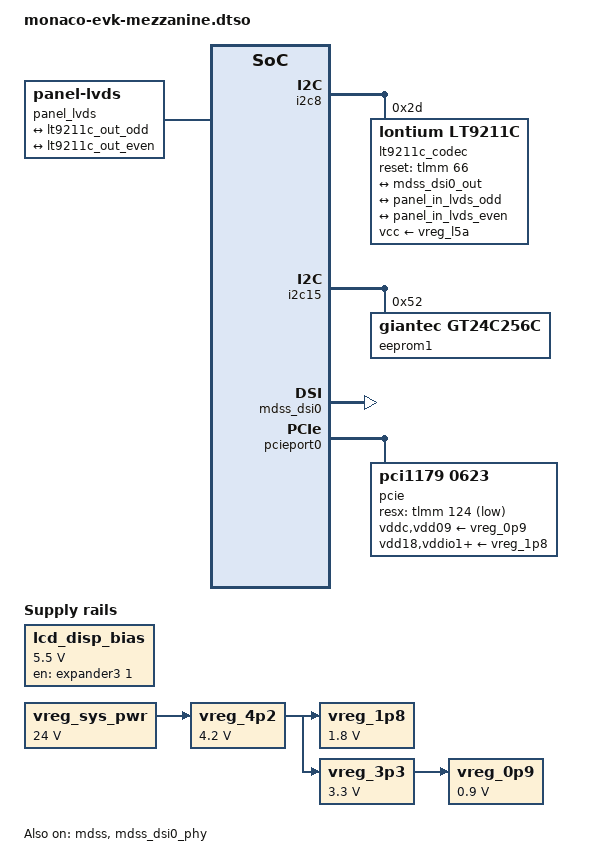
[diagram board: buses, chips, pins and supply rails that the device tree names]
// SPDX-License-Identifier: BSD-3-Clause
/*
 * Copyright (c) Qualcomm Technologies, Inc. and/or its subsidiaries.
 */

/dts-v1/;
/plugin/;

#include <dt-bindings/gpio/gpio.h>

&{/} {
	model = "Qualcomm Technologies, Inc. Monaco-EVK Mezzanine";

	panel_lvds: panel-lvds@0 {
		compatible = "panel-lvds";
		data-mapping = "vesa-24";
		width-mm = <476>;
		height-mm = <268>;

		status = "okay";

		panel-timing {
			clock-frequency = <148500000>;
			hactive = <1920>;
			vactive = <1080>;
			hfront-porch = <88>;
			hback-porch = <148>;
			hsync-len = <44>;
			vfront-porch = <4>;
			vback-porch = <36>;
			vsync-len = <5>;
			de-active = <1>;
		};

		ports {
			#address-cells = <1>;
			#size-cells = <0>;

			port@0 {
				reg = <0>;
				dual-lvds-odd-pixels;
				panel_in_lvds_odd: endpoint {
					remote-endpoint = <&lt9211c_out_odd>;
				};
			};

			port@1 {
				reg = <1>;
				dual-lvds-even-pixels;
				panel_in_lvds_even: endpoint {
					remote-endpoint = <&lt9211c_out_even>;
				};
			};
		};
	};

	lcd_disp_bias: regulator-lcd-disp-bias {
		compatible = "regulator-fixed";
		regulator-name = "lcd_disp_bias";
		regulator-min-microvolt = <5500000>;
		regulator-max-microvolt = <5500000>;
		gpio = <&expander3 1 GPIO_ACTIVE_HIGH>;
		enable-active-high;
	};

	vreg_0p9: regulator-vreg-0p9 {
		compatible = "regulator-fixed";
		regulator-name = "VREG_0P9";

		regulator-min-microvolt = <900000>;
		regulator-max-microvolt = <900000>;
		regulator-always-on;
		regulator-boot-on;

		vin-supply = <&vreg_3p3>;
	};

	vreg_1p8: regulator-vreg-1p8 {
		compatible = "regulator-fixed";
		regulator-name = "VREG_1P8";

		regulator-min-microvolt = <1800000>;
		regulator-max-microvolt = <1800000>;
		regulator-always-on;
		regulator-boot-on;

		vin-supply = <&vreg_4p2>;
	};

	vreg_3p3: regulator-vreg-3p3 {
		compatible = "regulator-fixed";
		regulator-name = "VREG_3P3";

		regulator-min-microvolt = <3300000>;
		regulator-max-microvolt = <3300000>;
		regulator-always-on;
		regulator-boot-on;

		vin-supply = <&vreg_4p2>;
	};

	vreg_4p2: regulator-vreg-4p2 {
		compatible = "regulator-fixed";
		regulator-name = "VREG_4P2";

		regulator-min-microvolt = <4200000>;
		regulator-max-microvolt = <4200000>;
		regulator-always-on;
		regulator-boot-on;

		vin-supply = <&vreg_sys_pwr>;
	};

	vreg_sys_pwr: regulator-vreg-sys-pwr {
		compatible = "regulator-fixed";
		regulator-name = "VREG_SYS_PWR";

		regulator-min-microvolt = <24000000>;
		regulator-max-microvolt = <24000000>;
		regulator-always-on;
		regulator-boot-on;
	};
};

&i2c8 {
	qcom,load-firmware;
	qcom,xfer-mode = <1>;
	pinctrl-names = "default";
	pinctrl-0 = <&qup_i2c8_data_clk>;

	status = "okay";

	lt9211c_codec: lvds-bridge@2d {
		compatible = "lontium,lt9211c";
		reg = <0x2d>;
		reset-gpios = <&tlmm 66 GPIO_ACTIVE_HIGH>;
		vcc-supply = <&vreg_l5a>;

		status = "okay";

		ports {
			#address-cells = <1>;
			#size-cells = <0>;

			port@0 {
				reg = <0>;
				lt9211c_in: endpoint {
					data-lanes = <0 1 2 3>;
					remote-endpoint = <&mdss_dsi0_out>;
				};
			};

			port@2 {
				reg = <2>;
				lt9211c_out_odd: endpoint {
					remote-endpoint = <&panel_in_lvds_odd>;
				};
			};

			port@3 {
				reg = <3>;
				lt9211c_out_even: endpoint {
					remote-endpoint = <&panel_in_lvds_even>;
				};
			};
		};
	};
};

&i2c15 {
	#address-cells = <1>;
	#size-cells = <0>;

	status = "okay";

	eeprom1: eeprom@52 {
		compatible = "giantec,gt24c256c", "atmel,24c256";
		reg = <0x52>;
		pagesize = <64>;

		nvmem-layout {
			compatible = "fixed-layout";
			#address-cells = <1>;
			#size-cells = <1>;
		};
	};
};

&mdss {
	status = "okay";
};

&mdss_dsi0 {
	vdda-supply = <&vreg_l5a>;
	power-supply = <&lcd_disp_bias>;
	status = "okay";
};

&mdss_dsi0_out {
	data-lanes = <0 1 2 3>;
	remote-endpoint = <&lt9211c_in>;
};

&mdss_dsi0_phy {
	vdds-supply = <&vreg_l4a>;
	status = "okay";
};

&pcie0 {
	iommu-map = <0x0   &pcie_smmu 0x0 0x1>,
		    <0x100 &pcie_smmu 0x1 0x1>,
		    <0x208 &pcie_smmu 0x2 0x1>,
		    <0x210 &pcie_smmu 0x3 0x1>,
		    <0x218 &pcie_smmu 0x4 0x1>,
		    <0x300 &pcie_smmu 0x5 0x1>,
		    <0x400 &pcie_smmu 0x6 0x1>,
		    <0x500 &pcie_smmu 0x7 0x1>,
		    <0x501 &pcie_smmu 0x8 0x1>;
};

&pcieport0 {
	#address-cells = <3>;
	#size-cells = <2>;

	pcie@0,0 {
		compatible = "pci1179,0623";
		reg = <0x10000 0x0 0x0 0x0 0x0>;
		#address-cells = <3>;
		#size-cells = <2>;

		device_type = "pci";
		ranges;
		bus-range = <0x2 0xff>;

		vddc-supply = <&vreg_0p9>;
		vdd18-supply = <&vreg_1p8>;
		vdd09-supply = <&vreg_0p9>;
		vddio1-supply = <&vreg_1p8>;
		vddio2-supply = <&vreg_1p8>;
		vddio18-supply = <&vreg_1p8>;

		i2c-parent = <&i2c15 0x77>;

		resx-gpios = <&tlmm 124 GPIO_ACTIVE_LOW>;

		pinctrl-0 = <&tc9563_resx_n>;
		pinctrl-names = "default";

		pcie@1,0 {
			reg = <0x20800 0x0 0x0 0x0 0x0>;
			#address-cells = <3>;
			#size-cells = <2>;

			device_type = "pci";
			ranges;
			bus-range = <0x3 0xff>;
		};

		pcie@2,0 {
			reg = <0x21000 0x0 0x0 0x0 0x0>;
			#address-cells = <3>;
			#size-cells = <2>;

			device_type = "pci";
			ranges;
			bus-range = <0x4 0xff>;
		};

		pcie@3,0 {
			reg = <0x21800 0x0 0x0 0x0 0x0>;
			#address-cells = <3>;
			#size-cells = <2>;
			device_type = "pci";
			ranges;
			bus-range = <0x5 0xff>;

			pci@0,0 {
				reg = <0x50000 0x0 0x0 0x0 0x0>;
				#address-cells = <3>;
				#size-cells = <2>;
				device_type = "pci";
				ranges;
			};

			pci@0,1 {
				reg = <0x50100 0x0 0x0 0x0 0x0>;
				#address-cells = <3>;
				#size-cells = <2>;
				device_type = "pci";
				ranges;
			};
		};
	};
};

&tlmm {
	tc9563_resx_n: tc9563-resx-state {
		pins = "gpio124";
		function = "gpio";

		bias-disable;
		input-disable;
		output-enable;
		power-source = <0>;
	};
};
